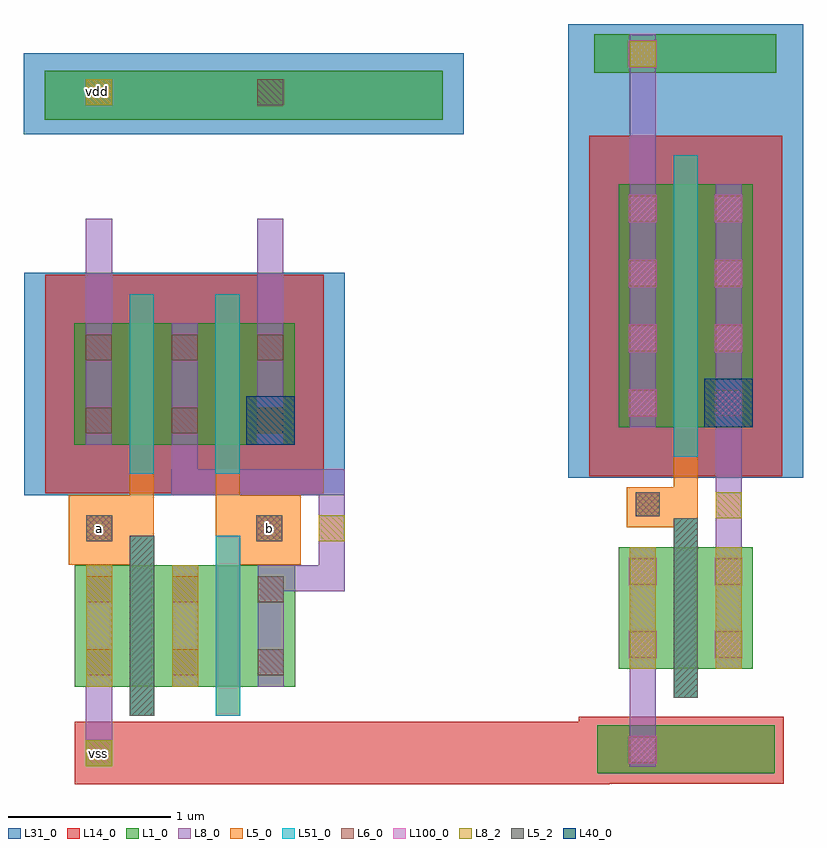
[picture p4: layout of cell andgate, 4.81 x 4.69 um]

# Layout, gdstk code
import gdstk
lib = gdstk.Library(unit=1e-6, precision=1.5e-09)
def R(c, l, rs):  # rectangles x0, y0, x1, y1
    for r in rs: c.add(gdstk.rectangle(r[:2], r[2:], *l))
L1_0 = (1, 0)
L5_0 = (5, 0)
L5_2 = (5, 2)
L6_0 = (6, 0)
L8_0 = (8, 0)
L8_2 = (8, 2)
L14_0 = (14, 0)
L31_0 = (31, 0)
L40_0 = (40, 0)
L51_0 = (51, 0)
L100_0 = (100, 0)

pmos_5 = lib.new_cell('pmos$5')
R(pmos_5, L1_0, [(0,0,0.3,0.3), (0,0,1.3605,0.75), (0.5295,0,0.8295,0.3), (1.0605,0,1.3605,0.3)])
R(pmos_5, L5_0, [(0.3405,-0.18,0.4905,0.93), (0.3405,-0.18,0.4905,0.93), (0.87,-0.18,1.02,0.93)])
R(pmos_5, L6_0, [(0.0705,0.0705,0.2295,0.2295), (0.6,0.0705,0.7605,0.2295), (1.1295,0.0705,1.29,0.2295), (0.0705,0.5205,0.2295,0.6795), (0.6,0.5205,0.7605,0.6795), (1.1295,0.5205,1.29,0.6795)])
R(pmos_5, L8_0, [(0.0705,0,0.2295,0.75), (0.0705,0,0.2295,0.75), (0.6,0,0.7605,0.75), (0.6,0,0.7605,0.75), (1.1295,0,1.29,0.75)])
R(pmos_5, L14_0, [(-0.18,-0.3,1.5405,1.05)])
R(pmos_5, L31_0, [(-0.3105,-0.3105,1.6695,1.0605)])
R(pmos_5, L40_0, [(1.0605,0,1.3605,0.3)])
R(pmos_5, L51_0, [(0.3405,-0.18,0.4905,0.93), (0.87,-0.18,1.02,0.93)])
pmos_5.add(gdstk.Label('pmos', (0.4155,0.375), layer=63, texttype=0))
pmos_5.add(gdstk.Label('pmos', (0.4155,0.375), layer=51, texttype=0))
pmos_5.add(gdstk.Label('pmos', (0.945,0.375), layer=51, texttype=0))

nmos_6 = lib.new_cell('nmos$6')
R(nmos_6, L1_0, [(0,0,0.3,0.3), (0,0,0.8295,0.75), (0.5295,0,0.8295,0.3)])
R(nmos_6, L5_0, [(0.3405,-0.18,0.4905,0.93)])
R(nmos_6, L5_2, [(0.3405,-0.18,0.4905,0.93)])
R(nmos_6, L6_0, [(0.0705,0.0705,0.2295,0.2295), (0.6,0.0705,0.7605,0.2295), (0.0705,0.5205,0.2295,0.6795), (0.6,0.5205,0.7605,0.6795)])
R(nmos_6, L8_0, [(0.0705,0,0.2295,0.75), (0.6,0,0.7605,0.75)])
R(nmos_6, L8_2, [(0.0705,0,0.2295,0.75), (0.6,0,0.7605,0.75)])
R(nmos_6, L51_0, [(0.3405,-0.18,0.4905,0.93)])
nmos_6.add(gdstk.Label('nmos', (0.4155,0.375), layer=63, texttype=0))
nmos_6.add(gdstk.Label('nmos', (0.4155,0.375), layer=51, texttype=0))

pmos_6 = lib.new_cell('pmos$6')
R(pmos_6, L1_0, [(0,0,0.3,0.3), (0,0,0.8295,1.5), (0.5295,0,0.8295,0.3)])
R(pmos_6, L5_0, [(0.3405,-0.18,0.4905,1.68), (0.3405,-0.18,0.4905,1.68)])
R(pmos_6, L6_0, [(0.0705,0.0705,0.2295,0.2295), (0.6,0.0705,0.7605,0.2295), (0.0705,0.4695,0.2295,0.63), (0.6,0.4695,0.7605,0.63), (0.0705,0.87,0.2295,1.0305), (0.6,0.87,0.7605,1.0305), (0.0705,1.2705,0.2295,1.4295), (0.6,1.2705,0.7605,1.4295)])
R(pmos_6, L8_0, [(0.0705,0,0.2295,1.5), (0.0705,0,0.2295,1.5), (0.6,0,0.7605,1.5), (0.6,0,0.7605,1.5)])
R(pmos_6, L14_0, [(-0.18,-0.3,1.0095,1.8)])
R(pmos_6, L31_0, [(-0.3105,-0.3105,1.14,1.8105)])
R(pmos_6, L40_0, [(0.5295,0,0.8295,0.3)])
R(pmos_6, L51_0, [(0.3405,-0.18,0.4905,1.68)])
pmos_6.add(gdstk.Label('pmos', (0.4155,0.75), layer=63, texttype=0))
pmos_6.add(gdstk.Label('pmos', (0.4155,0.75), layer=51, texttype=0))

inverter_4 = lib.new_cell('inverter$4')
R(inverter_4, L1_0, [(-0.7455,-1.77,0.3495,-1.4745), (-0.765,2.5545,0.36,2.79)])
R(inverter_4, L5_0, [(-0.5655,-0.2505,-0.2745,-0.0045), (-0.2745,-0.195,-0.1245,0.1845)])
R(inverter_4, L5_2, [(-0.51,-0.1845,-0.36,-0.0345)])
R(inverter_4, L6_0, [(-0.5445,-1.7055,-0.3855,-1.545), (-0.5445,-1.7055,-0.3855,-1.545), (-0.51,-0.1845,-0.36,-0.0345), (-0.5445,2.5905,-0.3855,2.7495)])
R(inverter_4, L8_0, [(-0.5445,-1.7295,-0.3855,-0.8445), (-0.015,-0.375,0.1455,0.3645), (-0.5445,1.8645,-0.3855,2.79)])
R(inverter_4, L8_2, [(-0.015,-0.57,0.1455,-0.435), (-0.015,-0.195,0.1455,-0.0345), (-0.5445,2.5905,-0.3855,2.7495)])
R(inverter_4, L14_0, [(-0.8595,-1.8345,0.405,-1.4205)])
R(inverter_4, L31_0, [(-0.9255,2.175,0.525,2.8545)])
R(inverter_4, L100_0, [(-0.5505,-1.71,-0.3795,-1.5405), (-0.5505,-1.71,-0.3795,-1.5405), (-0.5505,-1.0605,-0.3795,-0.8895), (-0.5505,-1.0605,-0.3795,-0.8895), (-0.0195,-1.0605,0.15,-0.8895), (-0.0195,-1.0605,0.15,-0.8895), (-0.5505,-0.6105,-0.3795,-0.4395), (-0.5505,-0.6105,-0.3795,-0.4395), (-0.0195,-0.6105,0.15,-0.4395), (-0.0195,-0.6105,0.15,-0.4395), (-0.5505,0.4305,-0.3795,0.6), (-0.5505,0.4305,-0.3795,0.6), (-0.0195,0.4305,0.15,0.6), (-0.0195,0.4305,0.15,0.6), (-0.5505,0.8295,-0.3795,1.0005), (-0.5505,0.8295,-0.3795,1.0005), (-0.0195,0.8295,0.15,1.0005), (-0.0195,0.8295,0.15,1.0005), (-0.5505,1.23,-0.3795,1.3995), (-0.5505,1.23,-0.3795,1.3995), (-0.0195,1.23,0.15,1.3995), (-0.0195,1.23,0.15,1.3995), (-0.5505,1.6305,-0.3795,1.8), (-0.5505,1.6305,-0.3795,1.8), (-0.0195,1.6305,0.15,1.8), (-0.0195,1.6305,0.15,1.8), (-0.5505,2.5845,-0.3795,2.7555), (-0.5505,2.5845,-0.3795,2.7555)])
inverter_4.add(gdstk.Reference(nmos_6, (-0.615,-1.125)))
inverter_4.add(gdstk.Reference(pmos_6, (-0.615,0.3645)))
inverter_4.add(gdstk.Label('out', (0.06,-0.09), layer=8, texttype=2))
inverter_4.add(gdstk.Label('vss', (-0.4755,-1.635), layer=8, texttype=2))
inverter_4.add(gdstk.Label('vdd', (-0.465,2.67), layer=8, texttype=2))
inverter_4.add(gdstk.Label('in', (-0.45,-0.1095), layer=5, texttype=2))

nmos_5 = lib.new_cell('nmos$5')
R(nmos_5, L1_0, [(0,0,0.3,0.3), (0,0,1.3605,0.75), (0.5295,0,0.8295,0.3), (1.0605,0,1.3605,0.3)])
R(nmos_5, L5_0, [(0.3405,-0.18,0.4905,0.93), (0.87,-0.18,1.02,0.93)])
R(nmos_5, L5_2, [(0.3405,-0.18,0.4905,0.93)])
R(nmos_5, L6_0, [(0.0705,0.0705,0.2295,0.2295), (0.6,0.0705,0.7605,0.2295), (1.1295,0.0705,1.29,0.2295), (0.0705,0.5205,0.2295,0.6795), (0.6,0.5205,0.7605,0.6795), (1.1295,0.5205,1.29,0.6795)])
R(nmos_5, L8_0, [(0.0705,0,0.2295,0.75), (0.6,0,0.7605,0.75), (1.1295,0,1.29,0.75)])
R(nmos_5, L8_2, [(0.0705,0,0.2295,0.75), (0.6,0,0.7605,0.75)])
R(nmos_5, L51_0, [(0.3405,-0.18,0.4905,0.93), (0.87,-0.18,1.02,0.93)])
nmos_5.add(gdstk.Label('nmos', (0.4155,0.375), layer=63, texttype=0))
nmos_5.add(gdstk.Label('nmos', (0.4155,0.375), layer=51, texttype=0))
nmos_5.add(gdstk.Label('nmos', (0.945,0.375), layer=51, texttype=0))

andgate = lib.new_cell('andgate')
R(andgate, L1_0, [(-2.5605,1.6575,-0.105,1.9575)])
R(andgate, L5_0, [(-2.4105,-1.0905,-2.0355,-0.6615), (-1.506,-1.0905,-1.356,-0.5295), (-1.356,-1.0905,-0.9795,-0.66), (-2.037,-1.08,-1.887,-0.5295)])
R(andgate, L5_2, [(-2.304,-0.9465,-2.1435,-0.786), (-2.304,-0.945,-2.145,-0.786), (-1.2555,-0.945,-1.0965,-0.786), (-1.2555,-0.945,-1.095,-0.7845)])
R(andgate, L6_0, [(-2.3055,-2.3325,-2.145,-2.172), (-2.304,-0.9465,-2.1435,-0.786), (-1.2555,-0.945,-1.095,-0.7845), (-2.3055,1.7445,-2.145,1.905), (-1.248,1.7445,-1.0875,1.905)])
R(andgate, L8_0, [(-2.3055,-2.3325,-2.145,-1.842), (-1.245,-1.2525,-0.708,-1.092), (-0.8685,-1.2525,-0.708,-0.4995), (-1.7805,-0.66,-0.708,-0.4995), (-1.7775,-0.6495,-1.617,-0.3255), (-2.307,0.4005,-2.145,1.0455), (-1.248,0.4005,-1.0875,1.0455)])
R(andgate, L8_2, [(-2.3055,-2.3325,-2.145,-2.172), (-0.8685,-0.945,-0.708,-0.7845), (-2.307,1.7445,-2.145,1.905)])
R(andgate, L14_0, [(-2.3745,-2.4435,0.924,-2.058)])
R(andgate, L31_0, [(-2.6895,1.5675,0.027,2.067)])
andgate.add(gdstk.Reference(pmos_5, (-2.3775,-0.3495)))
andgate.add(gdstk.Reference(inverter_4, (1.596,-0.6075)))
andgate.add(gdstk.Reference(nmos_5, (-2.3745,-1.842)))
andgate.add(gdstk.Label('vss', (-2.226,-2.253), layer=8, texttype=2))
andgate.add(gdstk.Label('vdd', (-2.235,1.83), layer=8, texttype=2))
andgate.add(gdstk.Label('a', (-2.2245,-0.867), layer=5, texttype=2))
andgate.add(gdstk.Label('b', (-1.176,-0.8655), layer=5, texttype=2))

lib.write_gds('andgate.gds')
